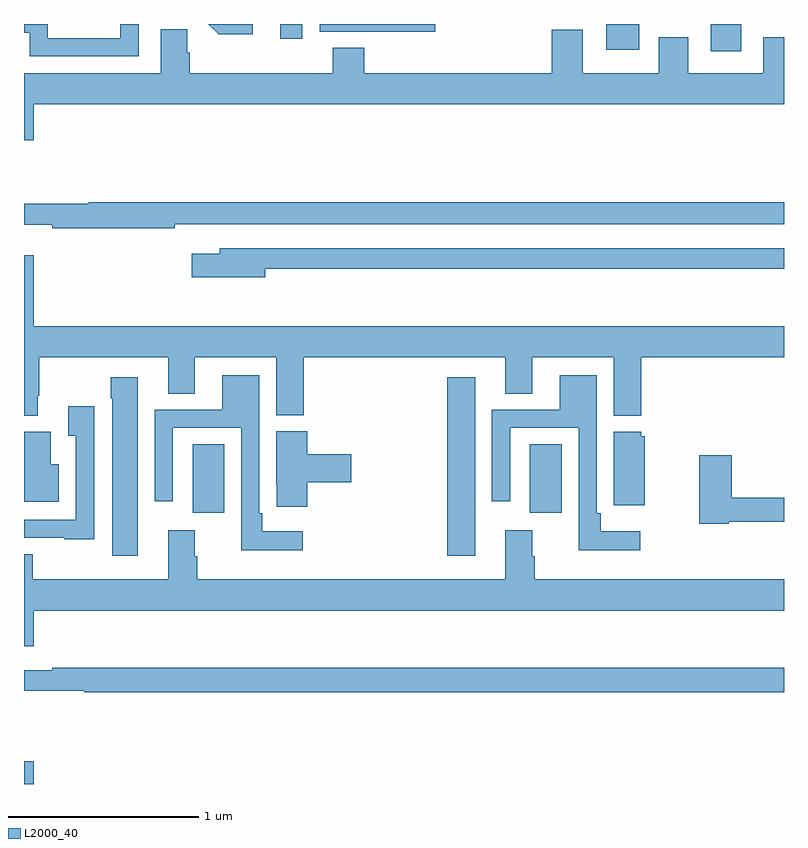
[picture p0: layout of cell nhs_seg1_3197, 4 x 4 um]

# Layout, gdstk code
import gdstk
lib = gdstk.Library(unit=1e-6, precision=1e-09)
def R(c, l, rs):  # rectangles x0, y0, x1, y1
    for r in rs: c.add(gdstk.rectangle(r[:2], r[2:], *l))
def P(c, l, *ps):  # polygons
    for p in ps: c.add(gdstk.Polygon(p, *l))
L2000_40 = (2000, 40)

nhs_seg1_3197 = lib.new_cell('nhs_seg1_3197')
R(nhs_seg1_3197, L2000_40, [(285,504.199,285.052,504.319), (287.228,505.401,287.374,506.341), (285.887,505.626,286.054,505.988), (287.663,505.626,287.83,505.988), (288.614,508.056,288.775,508.199), (288.065,508.064,288.238,508.199), (286.349,508.122,286.464,508.199)])
P(nhs_seg1_3197, L2000_40, [(287.165,508.199),(286.557,508.199),(286.557,508.158),(286.873,508.158),(286.873,508.157),(287.165,508.157)],
  [(285.603,508.199),(285.507,508.199),(285.507,508.125),(285.126,508.125),(285.126,508.199),(285,508.199),(285,508.152),(285.029,508.152),(285.029,508.029),(285.603,508.029)],
  [(286.204,508.199),(285.971,508.199),(286.025,508.145),(286.204,508.145)],
  [(285.052,507.776),(289,507.776),(289,508.129),(288.89,508.129),(288.89,507.94),(288.496,507.94),(288.496,508.129),(288.341,508.129),(288.341,507.94),(287.941,507.94),(287.941,508.168),(287.777,508.168),(287.777,507.94),(286.79,507.94),(286.79,508.073),(286.625,508.073),(286.625,507.94),(285.872,507.94),(285.872,508.049),(285.858,508.049),(285.858,508.172),(285.719,508.172),(285.719,507.94),(285,507.94),(285,507.588),(285.052,507.588)],
  [(285.794,507.144),(289,507.144),(289,507.26),(285.341,507.26),(285.341,507.253),(285,507.253),(285,507.143),(285.148,507.143),(285.148,507.124),(285.794,507.124)],
  [(286.27,506.91),(289,506.91),(289,507.018),(286.031,507.018),(286.031,506.989),(285.882,506.989),(285.882,506.867),(286.27,506.867)],
  [(285.073,506.242),(285.081,506.242),(285.081,506.444),(285.758,506.444),(285.758,506.254),(285.898,506.254),(285.898,506.444),(286.328,506.444),(286.328,506.14),(286.472,506.14),(286.472,506.444),(287.534,506.444),(287.534,506.254),(287.674,506.254),(287.674,506.444),(288.104,506.444),(288.104,506.138),(288.248,506.138),(288.248,506.444),(289,506.444),(289,506.608),(285.052,506.608),(285.052,506.983),(285,506.983),(285,506.137),(285.073,506.137)],
  [(286.468,505.528),(286.255,505.528),(286.255,505.624),(286.239,505.624),(286.239,506.35),(286.043,506.35),(286.043,506.169),(285.687,506.169),(285.687,505.686),(285.783,505.686),(285.783,506.073),(286.143,506.073),(286.143,505.43),(286.468,505.43)],
  [(288.244,505.528),(288.035,505.528),(288.035,505.624),(288.015,505.624),(288.015,506.35),(287.819,506.35),(287.819,506.169),(287.463,506.169),(287.463,505.686),(287.559,505.686),(287.559,506.073),(287.919,506.073),(287.919,505.43),(288.244,505.43)],
  [(285.598,506.341),(285.457,506.341),(285.457,506.228),(285.464,506.228),(285.464,505.401),(285.598,505.401)],
  [(285.369,506.188),(285.233,506.188),(285.233,506.032),(285.273,506.032),(285.273,505.59),(285,505.59),(285,505.494),(285.213,505.494),(285.213,505.487),(285.369,505.487)],
  [(286.49,505.787),(286.723,505.787),(286.723,505.934),(286.49,505.934),(286.49,506.055),(286.328,506.055),(286.328,505.771),(286.329,505.771),(286.329,505.659),(286.49,505.659)],
  [(288.268,506.028),(288.249,506.028),(288.249,506.053),(288.104,506.053),(288.104,505.667),(288.268,505.667)],
  [(285.184,505.882),(285.142,505.882),(285.142,506.052),(285.002,506.052),(285.002,505.685),(285.184,505.685)],
  [(288.708,505.578),(289,505.578),(289,505.706),(288.725,505.706),(288.725,505.93),(288.554,505.93),(288.554,505.57),(288.708,505.57)],
  [(285.052,505.112),(289,505.112),(289,505.276),(287.687,505.276),(287.687,505.397),(287.674,505.397),(287.674,505.534),(287.534,505.534),(287.534,505.276),(285.911,505.276),(285.911,505.397),(285.898,505.397),(285.898,505.534),(285.758,505.534),(285.758,505.276),(285.045,505.276),(285.045,505.409),(285,505.409),(285,504.924),(285.052,504.924)],
  [(289,504.811),(285.148,504.811),(285.148,504.798),(285,504.798),(285,504.69),(285.316,504.69),(285.316,504.682),(289,504.682)])

lib.write_gds('nhs_seg1_3197.gds')
